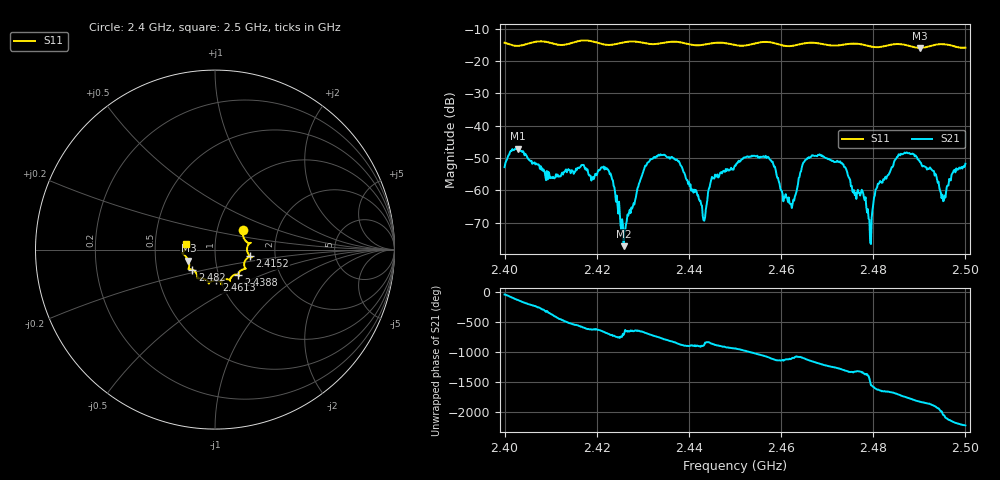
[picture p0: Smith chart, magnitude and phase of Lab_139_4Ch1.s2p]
# Hz S RI R 50
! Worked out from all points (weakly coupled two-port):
!   601 points, 2.4 GHz to 2.5 GHz, reference 50 ohm
!   highest |S21| = -47.06 dB at 2.4028 GHz (marker M1); lowest = -77.3 dB at 2.4258 GHz (marker M2)
!   lowest |S11| = -15.9 dB at 2.4902 GHz (marker M3), VSWR 1.38, Z = 36.8 - j4.65 ohm
!   |S11| at or under -10 dB: start of sweep to end of sweep
!   S12 and S22 are empty: the file has one direction only
!   S11 on the Smith chart (normalised r, x): 2.4 GHz: 1.33, +0.31; 2.4152 GHz: 1.48, -0.11; 2.4388 GHz: 1.24, -0.36; 2.4613 GHz: 0.96, -0.34; 2.482 GHz: 0.76, -0.17; 2.5 GHz: 0.72, +0.05
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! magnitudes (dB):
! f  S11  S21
! 2.4 GHz  -14.3  -52.8
! 2.4028 GHz  -15.3  -47.1
! 2.4152 GHz  -14.1  -54.3
! 2.4167 GHz  -13.6  -52.2
! 2.4227 GHz  -15.0  -54.2
! 2.4258 GHz  -14.2  -77.3
! 2.4305 GHz  -14.4  -52.4
! 2.4333 GHz  -14.6  -49.0
! 2.4388 GHz  -14.4  -54.3
! 2.4433 GHz  -14.9  -69.4
! 2.4452 GHz  -14.4  -56.3
! 2.45 GHz  -15.0  -52.3
! 2.4572 GHz  -14.1  -49.6
! 2.4613 GHz  -15.3  -62.4
! 2.4667 GHz  -14.3  -49.2
! 2.4733 GHz  -14.9  -51.9
! 2.4792 GHz  -15.4  -69.1
! 2.482 GHz  -15.5  -57.6
! 2.4833 GHz  -15.0  -55.2
! 2.4902 GHz  -15.9  -51.2
! 2.4952 GHz  -14.7  -63.4
! 2.5 GHz  -15.8  -51.8
